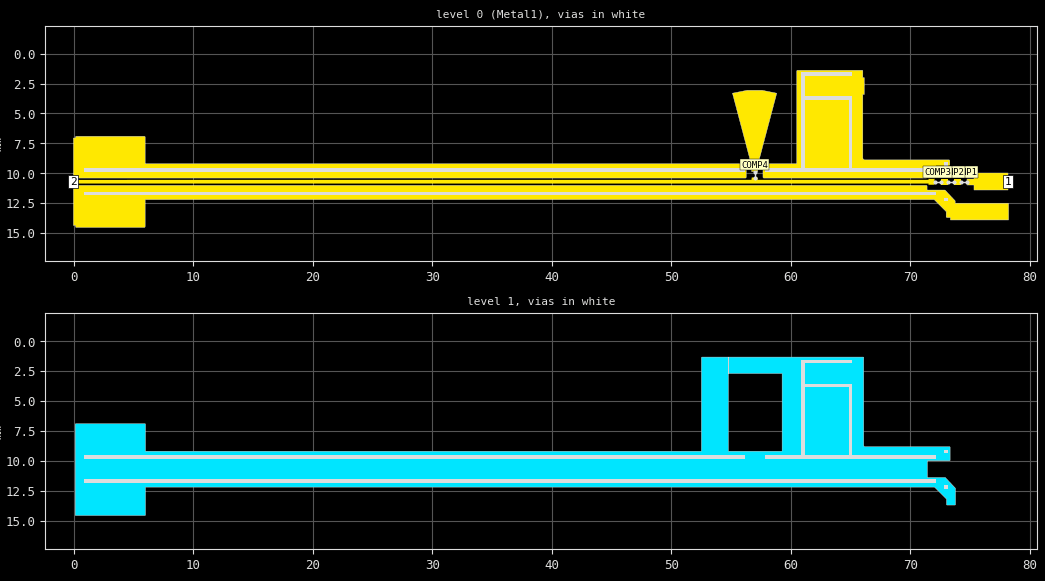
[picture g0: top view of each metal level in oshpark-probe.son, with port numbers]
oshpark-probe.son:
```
FTYP SONPROJ 18 ! Sonnet Project File
VER 17.56
HEADER
LIC antikernel2.1.50170 3cfdfeabd719 havequick azonenberg Level3Gold
DAT 02/15/2021 18:58:02
BUILT_BY_CREATED dxf 17.52.2 05/01/2020 05:35:06
BUILT_BY_SAVED sonnet 17.56
MDATE 02/15/2021 18:58:02
HDATE 02/15/2021 18:58:02
ANN Created by dxfgeo, Sonnet Software Inc.
END HEADER
DIM
ANG DEG
CAP PF
CON /OH
FREQ GHZ
IND NH
LNG MM
RES OH
END DIM
CONTROL
VARSWP
OPTIONS  -dj
SPEED 1
CACHE_ABS 1
Q_ACC N
END CONTROL
GEO
TMET "Free Space" 0 FREESPACE 376.7303136 0 0 0
BMET "Free Space" 0 FREESPACE 376.7303136 0 0 0
MET "Copper 1oz thick" 2 TMM 58000000 0.5 0.035 2
MET "Nickel " 3 TMM 14300000 0.5 3.5e-05 2
MET "Copper 0.5oz" 1 NOR 58000000 0.5 0.0175 
MET "Unknown_metal" 1 NOR INF 0.5 0 
MET "Unknown_metal" 1 VOL INF 0
BRI "Alumina (96%)" 0 9.4 0.0004 0 
BRI "Alumina (99.5%)" 0 9.9 0.0001 0 
BRI "Aluminum Nitride" 0 8.6 0.0003 0 
BRI "Arlon 25FR" 0 3.58 0.0035 0 
BRI "Arlon 25N" 0 3.38 0.0025 0 
BRI "Arlon AD5" 0 5.1 0.003 0 
BRI "Arlon AD10" 0 10.2 0.005 0 
BRI "Arlon AD250" 0 2.5 0.0018 0 
BRI "Arlon AD255A" 0 2.55 0.0015 0 
BRI "Arlon AD260A" 0 2.6 0.0018 0 
BRI "Arlon AD270" 0 2.7 0.0023 0 
BRI "Arlon AD300A" 0 3 0.002 0 
BRI "Arlon AD320A" 0 3.2 0.0032 0 
BRI "Arlon AD350A" 0 3.5 0.003 0 
BRI "Arlon AD410" 0 4.1 0.003 0 
BRI "Arlon AD430" 0 4.3 0.003 0 
BRI "Arlon AD450" 0 4.5 0.0035 0 
BRI "Arlon AD600" 0 6.15 0.003 0 
BRI "Arlon AD1000" 0 10.2 0.0023 0 
BRI "Arlon AR1000" 0 9.8 0.003 0 
BRI "Arlon CLTE" 0 2.96 0.0023 0 
BRI "Arlon CLTE-AT" 0 3 0.0013 0 
BRI "Arlon CLTE-P" 0 2.94 0.0025 0 
BRI "Arlon CLTE-XT" 0 2.94 0.0012 0 
BRI "Arlon Cu 217LX" 0 2.17 0.0009 0 
BRI "Arlon Cu 233LX" 0 2.33 0.0013 0 
BRI "Arlon Cu 250GT" 0 2.5 0.001 0 
BRI "Arlon Cu 250GX" 0 2.5 0.0018 0 
BRI "Arlon Cu 6250" 0 2.32 0.0013 0 
BRI "Arlon Cu 6700" 0 2.35 0.0025 0 
BRI "Arlon Di 522" 0 2.5 0.001 0 
BRI "Arlon Di 527" 0 2.5 0.0018 0 
BRI "Arlon Di 870" 0 2.33 0.0013 0 
BRI "Arlon Di 880" 0 2.17 0.0009 0 
BRI "Arlon Iso 917" 0 2.17 0.0013 0 
BRI "Arlon Iso 933" 0 2.33 0.0016 0 
BRI "Arlon Multi HF" 0 3.7 0.004 0 
BRI "Arlon TC350" 0 3.5 0.002 0 
BRI "Arlon TC600" 0 6.15 0.002 0 
BRI "Beryllia (99.5%)" 0 6.5 0.0004 0 
BRI "CEM-1" 0 4.5 0.02 0 
BRI "CEM-3" 0 4.5 0.02 0 
BRI "Dupont 9K7" 0 7.1 0.0012 0 
BRI "Dupont 943" 0 7.4 0.002 0 
BRI "Dupont 951" 0 7.8 0.006 0 
BRI "Dupont FEP" 0 2 0.0005 0 
BRI "Dupont Vacrel" 0 3.8 0.011 0 
BRI "ESL 41010" 0 7.5 0.005 0 
BRI "ESL 41020" 0 7.25 0.005 0 
BRI "ESL 41050" 0 13.5 0.002 0 
BRI "ESL 41060" 0 16.5 0.002 0 
BRI "ESL 41110" 0 4.5 0.004 0 
BRI "Ferro A6M" 0 5.9 0.002 0 
BRI "Ferro A6S" 0 5.9 0.002 0 
BRI "Ferro L8" 0 7.3 0.0018 0 
BRI "FR-4" 0 4.4 0.02 0 
BRI "G-10" 0 4.8 0.025 0 
BRI "Gallium Arsenide" 0 12.9 0.006 0 
BRI "Gallium Nitride" 0 9.7 0 0 
BRI "Glass (Pyrex)" 0 4.82 0.0054 0 
BRI "Heraeus HL2000" 0 7.3 0.0026 0 
BRI "Isola 370HR" 0 4.04 0.021 0 
BRI "Isola FR408" 0 3.77 0.0116 0 
BRI "Isola FR408HR" 0 3.68 0.0092 0 
BRI "Isola Getek" 0 3.6 0.01 0 
BRI "Isola GI-180" 0 3.7 0.013 0 
BRI "Isola IS415" 0 3.82 0.0125 0 
BRI "Isola IS620i" 0 3.58 0.006 0 
BRI "Isola IS680-280" 0 2.8 0.0025 0 
BRI "Isola IS680-300" 0 3 0.003 0 
BRI "Isola IS680-320" 0 3.2 0.003 0 
BRI "Isola IS680-333" 0 3.33 0.003 0 
BRI "Isola IS680-338" 0 3.38 0.0032 0 
BRI "Isola IS680-345" 0 3.45 0.0036 0 
BRI "Kerafol CT800" 0 5.3 0.008 0 
BRI "Nelco MW9350" 0 3.7 0.004 0 
BRI "Nelco N4000-12" 0 3.7 0.008 0 
BRI "Nelco N4000-13" 0 3.7 0.009 0 
BRI "Nelco N4000-13SI" 0 3.2 0.007 0 
BRI "Nelco N4000-13EP" 0 3.7 0.008 0 
BRI "Nelco N4350-13RF" 0 3.5 0.0065 0 
BRI "Nelco N4380-13RF" 0 3.8 0.007 0 
BRI "Nelco N9300-13RF" 0 3 0.004 0 
BRI "Nelco N9320-13RF" 0 3.2 0.0045 0 
BRI "Nelco N9338-13RF" 0 3.38 0.0046 0 
BRI "Nelco N9350-13RF" 0 3.48 0.0055 0 
BRI "Nelco NH9294" 0 2.94 0.0022 0 
BRI "Nelco NH9300" 0 3 0.0023 0 
BRI "Nelco NH9320" 0 3.2 0.0024 0 
BRI "Nelco NH9338" 0 3.38 0.0025 0 
BRI "Nelco NH9348" 0 3.48 0.003 0 
BRI "Nelco NH9350" 0 3.5 0.003 0 
BRI "Nelco NH9410" 0 4.1 0.003 0 
BRI "Nelco NH9450" 0 4.5 0.003 0 
BRI "Nelco NX9240" 0 2.4 0.0016 0 
BRI "Nelco NX9245" 0 2.45 0.0016 0 
BRI "Nelco NX9250" 0 2.5 0.0017 0 
BRI "Nelco NX9255" 0 2.55 0.0018 0 
BRI "Nelco NX9260" 0 2.6 0.0019 0 
BRI "Nelco NY9208" 0 2.08 0.0006 0 
BRI "Nelco NY9217" 0 2.17 0.0008 0 
BRI "Nelco NY9220" 0 2.2 0.0009 0 
BRI "Nelco NY9233" 0 2.33 0.0011 0 
BRI "PET" 0 3.37 0.0208 0 
BRI "Polyimide" 0 3.5 0.003 0 
BRI "Quartz (Fused)" 0 3.78 0.0001 0 
BRI "Rogers 3001" 0 2.28 0.003 0 
BRI "Rogers RO2808" 0 7.6 0.0015 0 
BRI "Rogers RO3003" 0 3 0.0013 0 
BRI "Rogers RO3006" 0 6.5 0.002 0 
BRI "Rogers RO3010" 0 11.2 0.0022 0 
BRI "Rogers RO3035" 0 3.6 0.0018 0 
BRI "Rogers RO3203" 0 3.02 0.0016 0 
BRI "Rogers RO3206" 0 6.6 0.0027 0 
BRI "Rogers RO3210" 0 10.8 0.0027 0 
BRI "Rogers RO3730" 0 3 0.0016 0 
BRI "Rogers RO4003C" 0 3.55 0.0029 0 
BRI "Rogers RO4533" 0 3.45 0.0029 0 
BRI "Rogers RO4534" 0 3.4 0.003 0 
BRI "Rogers RO4350B" 0 3.66 0.0037 0 
BRI "Rogers RO4350BTX" 0 3.66 0.0034 0 
BRI "Rogers RO4360" 0 6.15 0.0038 0 
BRI "Rogers RO4450B-3.6" 0 3.3 0.0043 0 
BRI "Rogers RO4450B-4" 0 3.54 0.004 0 
BRI "Rogers RO4450F" 0 3.52 0.0041 0 
BRI "Rogers RO4730" 0 3 0.0033 0 
BRI "Rogers RT5870" 0 2.33 0.0012 0 
BRI "Rogers RT5880" 0 2.2 0.0009 0 
BRI "Rogers RT5880LZ" 0 1.96 0.0019 0 
BRI "Rogers RT6002" 0 2.94 0.0012 0 
BRI "Rogers RT6006" 0 6.15 0.0027 0 
BRI "Rogers RT6010LM" 0 10.9 0.0023 0 
BRI "Rogers RT6035HTC" 0 3.6 0.0013 0 
BRI "Rogers RT6202" 0 2.94 0.0015 0 
BRI "Rogers RT6202PR" 0 2.95 0.0015 0 
BRI "Rogers Syron7000" 0 3.4 0.0045 0 
BRI "Rogers Syron7100-2" 0 3.61 0.006 0 
BRI "Rogers Syron7100-4" 0 3.39 0.005 0 
BRI "Rogers Theta" 0 4.01 0.0118 0 
BRI "Rogers TMM 3" 0 3.39 0.002 0 
BRI "Rogers TMM 4" 0 4.5 0.002 0 
BRI "Rogers TMM 6" 0 6 0.0023 0 
BRI "Rogers TMM 10" 0 9.56 0.0022 0 
BRI "Rogers TMM 10i" 0 9.96 0.002 0 
BRI "Rogers UL2000" 0 2.5 0.0019 0 
BRI "Rogers UL3850" 0 3.05 0.0025 0 
BRI "Rogers UL3908" 0 2.9 0.0025 0 
BRI "Rogers XT8000" 0 3.34 0.0035 0 
BRI "Rogers XT8100-2" 0 3.54 0.0049 0 
BRI "Rogers XT8100-4" 0 3.32 0.0038 0 
BRI "Silicon (intrinsic)" 0 11.9 0.004 0.00044 
BRI "Silicon Dioxide" 0 3.9 0 0 
BRI "Silicon Nitride" 0 7.5 0 0 
BRI "Taconic CER-10" 0 10 0.0035 0 
BRI "Taconic FastFilm" 0 2.7 0.0012 0 
BRI "Taconic Fastrise-DS" 0 2.96 0.0018 0 
BRI "Taconic Fastrise27" 0 2.7 0.0014 0 
BRI "Taconic Fastrise77" 0 7.7 0.0034 0 
BRI "Taconic FEP" 0 2 0.0003 0 
BRI "Taconic RF-30" 0 3 0.0014 0 
BRI "Taconic RF-35" 0 3.5 0.0018 0 
BRI "Taconic RF-35A2" 0 3.5 0.0011 0 
BRI "Taconic RF-35P" 0 3.5 0.0025 0 
BRI "Taconic RF-41" 0 4.1 0.0038 0 
BRI "Taconic RF-43" 0 4.3 0.0033 0 
BRI "Taconic RF-45" 0 4.5 0.0037 0 
BRI "Taconic RF-60A" 0 6.15 0.0038 0 
BRI "Taconic RF-301" 0 2.97 0.0012 0 
BRI "Taconic TacBond HT" 0 2.35 0.0025 0 
BRI "Taconic TLA-6" 0 2.62 0.0012 0 
BRI "Taconic TLC-27" 0 2.75 0.003 0 
BRI "Taconic TLC-30" 0 3 0.003 0 
BRI "Taconic TLC-32" 0 3.2 0.003 0 
BRI "Taconic TLE-95" 0 2.95 0.0028 0 
BRI "Taconic TLF-34" 0 3.4 0.002 0 
BRI "Taconic TLF-35" 0 3.5 0.002 0 
BRI "Taconic TLP-3" 0 2.33 0.0009 0 
BRI "Taconic TLP-5" 0 2.2 0.0009 0 
BRI "Taconic TLP-5A" 0 2.17 0.0009 0 
BRI "Taconic TLT-0" 0 2.45 0.0006 0 
BRI "Taconic TLT-9" 0 2.5 0.0006 0 
BRI "Taconic TLT-8" 0 2.55 0.0006 0 
BRI "Taconic TLT-7" 0 2.6 0.0006 0 
BRI "Taconic TLT-6" 0 2.65 0.0006 0 
BRI "Taconic TLX-0" 0 2.45 0.0019 0 
BRI "Taconic TLX-9" 0 2.5 0.0019 0 
BRI "Taconic TLX-8" 0 2.55 0.0019 0 
BRI "Taconic TLX-7" 0 2.6 0.0019 0 
BRI "Taconic TLX-6" 0 2.65 0.0019 0 
BRI "Taconic TLY-3" 0 2.33 0.0009 0 
BRI "Taconic TLY-3F" 0 2.33 0.0009 0 
BRI "Taconic TLY-5" 0 2.2 0.0009 0 
BRI "Taconic TLY-5-L" 0 2.2 0.0009 0 
BRI "Taconic TLY-5A" 0 2.17 0.0009 0 
BRI "Taconic TLY-5A-L" 0 2.17 0.0009 0 
BRI "Taconic TPG-30" 0 3 0.0038 0 
BRI "Taconic TPG-32" 0 3.2 0.005 0 
BRI "Taconic TPG-35" 0 3.5 0.005 0 
BRI "Taconic TRF-41" 0 4.1 0.0035 0 
BRI "Taconic TRF-43" 0 4.3 0.0035 0 
BRI "Taconic TRF-45" 0 4.5 0.0035 0 
BRI "Taconic TSM-DS" 0 2.85 0.001 0 
BRI "Taconic TSM-DS3" 0 3 0.0011 0 
BRI "Taconic TSM-26" 0 2.6 0.0014 0 
BRI "Taconic TSM-29" 0 2.94 0.0013 0 
BRI "Taconic TSM-30" 0 3 0.0013 0 
BRI "Teflon (PTFE)" 0 2.08 0.0004 0 
BOX 2 78.2 15 3128 600 20 0
      1 1 1 0 0 0 0 "Air"
      0.166 3.6 1 0.0092 0 0 0 "Isola FR408HR"
      1 1 1 0 0 0 0 "Air"
TECHLAY METAL Metal1 BLACK -2 0 
0 0 0 N 1687 1 1 100 100 0 0 0 Y
END
END
TECHLAY VIA Via1 <UNSPECIFIED> -4 0 
VIA POLYGON
1 0 -1 N 1700 1 1 100 100 0 0 0 Y
TOLEVEL 0 RING NOCOVERS
END
END
TECHLAY METAL Metal2 BLACK -3 0 
1 0 2 N 1702 1 1 100 100 0 0 0 Y
END
END
LORGN 0 15 U 
POR1 BOX
POLY 883 1
9
1 50 0 0 0 78.191575 10.705 
POR1 BOX
POLY 882 1
11
2 50 0 0 0 -0.013425 10.705 
SMD 0 "COMP1"
ID 1182
GNDREF AUTO
SBOX 74.336575 74.586575 10.58 10.83
PBSHW N
LPOS 74.461575 10.58
TYPE SPARAM 1
SMDP 0 74.711575 10.705 R 3 1 
EXSMDP
GNDREF AUTO
TERMW FEED
END EXSMDP
SMDP 0 74.211575 10.705 L 4 2 
EXSMDP
GNDREF AUTO
TERMW FEED
END EXSMDP
END
SMD 0 "COMP2"
ID 1187
GNDREF AUTO
SBOX 73.236575 73.486575 10.58 10.83
PBSHW N
LPOS 73.361575 10.58
TYPE SPARAM 1
SMDP 0 73.611575 10.705 R 5 1 
EXSMDP
GNDREF AUTO
TERMW FEED
END EXSMDP
SMDP 0 73.111575 10.705 L 6 2 
EXSMDP
GNDREF AUTO
TERMW FEED
END EXSMDP
END
SMD 0 "COMP3"
ID 1192
GNDREF AUTO
SBOX 72.136575 72.386575 10.58 10.83
PBSHW N
LPOS 72.261575 10.58
TYPE SPARAM 2
SMDP 0 72.511575 10.705 R 7 1 
EXSMDP
GNDREF AUTO
TERMW FEED
END EXSMDP
SMDP 0 72.011575 10.705 L 8 2 
EXSMDP
GNDREF AUTO
TERMW FEED
END EXSMDP
END
SMD 0 "COMP4"
ID 1197
GNDREF AUTO
SBOX 56.836575 57.086575 9.98 10.23
PBSHW N
LPOS 56.961575 9.98
TYPE SPARAM 2
SMDP 0 56.961575 10.355 B 9 1 
EXSMDP
GNDREF AUTO
TERMW FEED
END EXSMDP
SMDP 0 56.961575 9.855 T 10 2 
EXSMDP
GNDREF AUTO
TERMW FEED
END EXSMDP
END
NUM 18
0 103 0 N 880 1 1 100 100 0 0 0 Y
TLAYNAM Metal1 INH
USER_DAT FromImport
5.929575 14.528
5.936575 14.526
5.943575 14.523
5.950575 14.519
5.956575 14.515
5.961575 14.511
5.967575 14.505
5.971575 14.5
5.975575 14.494
5.979575 14.487
5.982575 14.48
5.984575 14.473
5.986575 14.459
5.986575 12.206
5.98665192 12.20576923
5.98689758 12.20532258
5.98689758 12.20532258
5.98748409 12.205
71.985575 12.205
71.98580577 12.20507692
71.98689758 12.20567742
71.98890833 12.20733333
72.98324167 13.20166667
72.98625242 13.20532258
72.986575 13.20590909
72.986575 13.626
72.986575 13.634
72.988575 13.648
72.990575 13.655
72.993575 13.662
72.997575 13.669
73.001575 13.675
73.005575 13.68
73.011575 13.686
73.016575 13.69
73.022575 13.694
73.029575 13.698
73.036575 13.701
73.043575 13.703
73.057575 13.705
73.336575 13.705
73.336575 13.905
78.2 13.905
78.2 12.505
73.736575 12.505
73.736575 12.341
73.736575 12.326
73.735575 12.319
73.733575 12.312
73.727575 12.298
73.723575 12.292
73.718575 12.286
72.906575 11.426
72.90548409 11.42509091
72.904575 11.424
72.902575 11.42266667
72.900575 11.421
72.888575 11.413
72.887175 11.4124
72.886575 11.412
72.879575 11.409
72.872575 11.407
72.869575 11.40657143
72.867575 11.406
72.860575 11.405
71.387575 11.405
71.38734423 11.40492308
71.38689758 11.40467742
71.386575 11.40409091
71.386575 11.081
71.384575 11.067
71.382575 11.06
71.379575 11.053
71.375575 11.046
71.371575 11.04
71.367575 11.035
71.361575 11.029
71.356575 11.025
71.350575 11.021
71.343575 11.017
71.336575 11.014
71.329575 11.012
71.315575 11.01
-0.013425 11.01
-0.013425 14.36
0.161575 14.36
0.161575 14.451
0.161575 14.459
0.163575 14.473
0.165575 14.48
0.168575 14.487
0.172575 14.494
0.176575 14.5
0.180575 14.505
0.186575 14.511
0.191575 14.515
0.197575 14.519
0.204575 14.523
0.211575 14.526
0.218575 14.528
0.232575 14.53
5.915575 14.53
5.929575 14.528
END
0 5 0 N 884 1 1 100 100 0 0 0 Y
TLAYNAM Metal1 INH
USER_DAT FromImport
74.211575 10.455
73.611575 10.455
73.611575 10.955
74.211575 10.955
74.211575 10.455
END
0 66 0 N 879 1 1 100 100 0 0 0 Y
TLAYNAM Metal1 INH
USER_DAT FromImport
56.204575 10.398
56.211575 10.396
56.218575 10.393
56.225575 10.389
56.231575 10.385
56.236575 10.381
56.242575 10.375
56.246575 10.37
56.250575 10.364
56.254575 10.357
56.257575 10.35
56.259575 10.343
56.261575 10.329
56.261575 9.276
56.259575 9.262
56.257575 9.255
56.254575 9.248
56.250575 9.241
56.246575 9.235
56.242575 9.23
56.236575 9.224
56.231575 9.22
56.225575 9.216
56.218575 9.212
56.211575 9.209
56.204575 9.207
56.190575 9.205
5.987575 9.205
5.98734423 9.204923077
5.98689758 9.204677419
5.98689758 9.204677419
5.986575 9.204090909
5.986575 6.976
5.984575 6.962
5.982575 6.955
5.979575 6.948
5.975575 6.941
5.971575 6.935
5.967575 6.93
5.961575 6.924
5.956575 6.92
5.950575 6.916
5.943575 6.912
5.936575 6.909
5.929575 6.907
5.915575 6.905
0.232575 6.905
0.218575 6.907
0.211575 6.909
0.204575 6.912
0.197575 6.916
0.191575 6.92
0.186575 6.924
0.180575 6.93
0.176575 6.935
0.172575 6.941
0.168575 6.948
0.165575 6.955
0.163575 6.962
0.161575 6.976
0.161575 6.984
0.161575 7.05
-0.013425 7.05
-0.013425 10.4
56.190575 10.4
56.204575 10.398
END
0 129 0 N 881 1 1 100 100 0 0 0 Y
TLAYNAM Metal1 INH
USER_DAT FromImport
71.329575 10.398
71.336575 10.396
71.343575 10.393
71.350575 10.389
71.356575 10.385
71.361575 10.381
71.367575 10.375
71.371575 10.37
71.375575 10.364
71.379575 10.357
71.382575 10.35
71.384575 10.343
71.386575 10.329
71.386575 10.006
71.38665192 10.00576923
71.38689758 10.00532258
71.38689758 10.00532258
71.38748409 10.005
73.215575 10.005
73.229575 10.003
73.236575 10.001
73.243575 9.998
73.250575 9.994
73.256575 9.99
73.261575 9.986
73.267575 9.98
73.271575 9.975
73.275575 9.969
73.279575 9.962
73.282575 9.955
73.284575 9.948
73.286575 9.934
73.286575 8.951
73.284575 8.937
73.282575 8.93
73.279575 8.923
73.275575 8.916
73.271575 8.91
73.267575 8.905
73.261575 8.899
73.256575 8.895
73.250575 8.891
73.243575 8.887
73.236575 8.884
73.229575 8.882
73.215575 8.88
66.194575 8.88
66.19224167 8.880333333
66.18695431 8.880862069
66.14933296 8.87683121
66.11656842 8.866516447
66.08553901 8.849760563
66.06508314 8.83263472
66.04151866 8.804488263
66.02473002 8.773398176
66.01431626 8.738251748
66.01074314 8.704902655
66.011575 8.697
66.011575 8.696
66.011575 3.405
66.136575 3.405
66.136575 2.005
66.011575 2.005
66.011575 1.459
66.011575 1.451
66.009575 1.437
66.007575 1.43
66.004575 1.423
66.000575 1.416
65.996575 1.41
65.992575 1.405
65.986575 1.399
65.981575 1.395
65.975575 1.391
65.968575 1.387
65.961575 1.384
65.954575 1.382
65.940575 1.38
60.557575 1.38
60.543575 1.382
60.536575 1.384
60.529575 1.387
60.522575 1.391
60.516575 1.395
60.511575 1.399
60.505575 1.405
60.501575 1.41
60.497575 1.416
60.493575 1.423
60.490575 1.43
60.488575 1.437
60.486575 1.451
60.486575 1.459
60.486575 9.204
60.48649808 9.204230769
60.48625242 9.204677419
60.48566591 9.205
57.732575 9.205
57.718575 9.207
57.711575 9.209
57.704575 9.212
57.697575 9.216
57.691575 9.22
57.686575 9.224
57.680575 9.23
57.676575 9.235
57.672575 9.241
57.668575 9.248
57.665575 9.255
57.663575 9.262
57.661575 9.276
57.661575 9.284
57.661575 10.321
57.661575 10.329
57.663575 10.343
57.665575 10.35
57.668575 10.357
57.672575 10.364
57.676575 10.37
57.680575 10.375
57.686575 10.381
57.691575 10.385
57.697575 10.389
57.704575 10.393
57.711575 10.396
57.718575 10.398
57.732575 10.4
71.315575 10.4
71.329575 10.398
END
0 11 0 N 883 1 1 100 100 0 0 0 Y
TLAYNAM Metal1 INH
USER_DAT FromImport
78.191575 10.005
75.331575 10.005
75.331575 10.455
74.711575 10.455
74.711575 10.693
74.711575 10.717
74.711575 10.955
75.331575 10.955
75.331575 11.405
78.191575 11.405
78.191575 10.005
END
0 21 0 N 882 1 1 100 100 0 0 0 Y
TLAYNAM Metal1 INH
USER_DAT FromImport
72.011575 10.455
71.511575 10.455
71.511575 10.55
57.211575 10.55
57.211575 10.355
56.711575 10.355
56.711575 10.55
4.453575 10.55
4.438575 10.551
4.423575 10.554
4.420775 10.555
-0.013425 10.555
-0.013425 10.855
4.420775 10.855
4.423575 10.856
4.438575 10.859
4.453575 10.86
71.511575 10.86
71.511575 10.955
72.011575 10.955
72.011575 10.455
END
0 9 0 N 878 1 1 100 100 0 0 0 Y
TLAYNAM Metal1 INH
USER_DAT FromImport
57.211575 9.355
58.811575 3.305
57.561575 3.055
56.361575 3.055
55.111575 3.305
56.711575 9.355
56.711575 9.855
57.211575 9.855
57.211575 9.355
END
0 5 0 N 885 1 1 100 100 0 0 0 Y
TLAYNAM Metal1 INH
USER_DAT FromImport
73.111575 10.455
72.511575 10.455
72.511575 10.955
73.111575 10.955
73.111575 10.455
END
VIA POLYGON
1 5 -1 N 727 1 1 100 100 0 0 0 Y
TOLEVEL 0 RING NOCOVERS
TLAYNAM Via1 INH
USER_DAT FromImport
64.836575 9.555
64.836575 3.555
65.136575 3.555
65.136575 9.555
64.836575 9.555
END
VIA POLYGON
1 5 -1 N 785 1 1 100 100 0 0 0 Y
TOLEVEL 0 RING NOCOVERS
TLAYNAM Via1 INH
USER_DAT FromImport
0.836575 11.855
0.836575 11.555
72.136575 11.555
72.136575 11.855
0.836575 11.855
END
VIA POLYGON
1 5 -1 N 725 1 1 100 100 0 0 0 Y
TOLEVEL 0 RING NOCOVERS
TLAYNAM Via1 INH
USER_DAT FromImport
61.15 3.855
61.15 3.555
64.85 3.555
64.85 3.855
61.15 3.855
END
VIA POLYGON
1 5 -1 N 714 1 1 100 100 0 0 0 Y
TOLEVEL 0 RING NOCOVERS
TLAYNAM Via1 INH
USER_DAT FromImport
60.836575 1.855
60.836575 1.555
65.136575 1.555
65.136575 1.855
60.836575 1.855
END
VIA POLYGON
1 5 -1 N 877 1 1 100 100 0 0 0 Y
TOLEVEL 0 RING NOCOVERS
TLAYNAM Via1 INH
USER_DAT FromImport
72.836575 12.355
72.836575 12.055
73.136575 12.055
73.136575 12.355
72.836575 12.355
END
VIA POLYGON
1 5 -1 N 715 1 1 100 100 0 0 0 Y
TOLEVEL 0 RING NOCOVERS
TLAYNAM Via1 INH
USER_DAT FromImport
60.836575 9.55
60.836575 1.85
61.136575 1.85
61.136575 9.55
60.836575 9.55
END
VIA POLYGON
1 5 -1 N 876 1 1 100 100 0 0 0 Y
TOLEVEL 0 RING NOCOVERS
TLAYNAM Via1 INH
USER_DAT FromImport
72.836575 9.355
72.836575 9.055
73.136575 9.055
73.136575 9.355
72.836575 9.355
END
VIA POLYGON
1 5 -1 N 784 1 1 100 100 0 0 0 Y
TOLEVEL 0 RING NOCOVERS
TLAYNAM Via1 INH
USER_DAT FromImport
0.836575 9.855
0.836575 9.555
56.15 9.555
56.15 9.855
0.836575 9.855
END
VIA POLYGON
1 5 -1 N 825 1 1 100 100 0 0 0 Y
TOLEVEL 0 RING NOCOVERS
TLAYNAM Via1 INH
USER_DAT FromImport
57.836575 9.855
57.836575 9.555
72.136575 9.555
72.136575 9.855
57.836575 9.855
END
1 180 3 N 1466 1 1 100 100 0 0 0 Y
5.97449989 14.57400055
5.97949905 14.57199974
5.98350067 14.57000084
5.98849983 14.56800003
5.99649925 14.56199951
5.99949951 14.55899925
6.00550003 14.55099983
6.00750084 14.54600067
6.00949974 14.54199905
6.01150055 14.53699989
6.0125 14.53200073
6.0125 12.20099945
6.01349945 12.2
72.01150055 12.2
72.01150055 12.20099945
73.01150055 13.20099945
73.0125 13.20099945
73.0125 13.65700073
73.01349945 13.66199989
73.01549835 13.66699905
73.01749725 13.67100067
73.01950378 13.67599983
73.02550049 13.68399925
73.02849884 13.68699951
73.03650208 13.69300003
73.04149933 13.69500084
73.04549713 13.69699974
73.05050201 13.69900055
73.05549927 13.7
73.71950073 13.7
73.72449799 13.69900055
73.72950287 13.69699974
73.73350067 13.69500084
73.73849792 13.69300003
73.74650116 13.68699951
73.74949951 13.68399925
73.75549622 13.67599983
73.75750275 13.67200012
73.75750275 13.67100067
73.75950165 13.66699905
73.76150055 13.66199989
73.7625 13.65700073
73.7625 12.31300087
73.76150055 12.3079998
73.75950165 12.30300064
73.75750275 12.29900093
73.75549622 12.29399986
73.75349731 12.29199905
73.75349731 12.2909996
73.75049896 12.28699989
73.74650116 12.28300018
72.93149872 11.42100067
72.93149872 11.41999931
72.92850037 11.4159996
72.91649933 11.40700073
72.91549988 11.40700073
72.91350098 11.40499992
72.90850372 11.40299911
72.90649719 11.40299911
72.90449829 11.40199966
72.90349884 11.40100021
72.89850159 11.40000076
71.41250153 11.40000076
71.41250153 10.0010006
71.41350098 9.99999924
73.26950378 9.99999924
73.27450104 9.99899979
73.27949829 9.99700089
73.28350372 9.99500008
73.28850098 9.99299927
73.29649658 9.98700066
73.29950256 9.9840004
73.30549927 9.97599907
73.30749817 9.97099991
73.30949707 9.9670002
73.3115036 9.96199913
73.31250305 9.95699997
73.31250305 8.86799927
73.31049652 8.85800095
73.30849762 8.85399933
73.30549927 8.84900017
73.30350037 8.84500046
73.30050201 8.84100075
73.29950256 8.84100075
73.29649658 8.83800049
73.28850098 8.83199997
73.28450317 8.82999916
73.27949829 8.82800026
73.27550049 8.82599945
73.27050323 8.825
66.2134964 8.825
66.1885025 8.82299919
66.16050262 8.81400032
66.15749664 8.81300087
66.14450378 8.8060009
66.12150116 8.78699989
66.11249847 8.77600021
66.11149902 8.77299995
66.09749908 8.74800034
66.0884964 8.72099991
66.08749695 8.70099945
66.08749695 1.368000221
66.0864975 1.363000107
66.0844986 1.357999992
66.08249969 1.354000282
66.08050079 1.349000168
66.07449646 1.340999794
66.07149811 1.337999535
66.0635025 1.331999969
66.05849762 1.330000114
66.05449982 1.328000259
66.04950256 1.326000404
66.04449768 1.325
54.76349945 1.325
54.76349945 2.7
59.26150055 2.7
59.26150055 2.700999451
59.2625 2.700999451
59.2625 9.19900055
59.26150055 9.2
54.7625 9.2
54.7625 2.700999451
54.76349945 2.7
54.76349945 1.325
52.55549927 1.325
52.55050201 1.326000404
52.54549713 1.328000259
52.54149933 1.330000114
52.53650208 1.331999969
52.52849884 1.337999535
52.52550049 1.340999794
52.51950378 1.349000168
52.51749725 1.354000282
52.51549835 1.357999992
52.51349945 1.363000107
52.5125 1.368000221
52.5125 9.19900055
52.51150055 9.2
6.0125 9.2
6.0125 9.19300003
6.01550026 6.956999969
6.01550026 6.943000031
6.01349945 6.932999802
6.01150055 6.929000092
6.00850029 6.924000931
6.00649948 6.919999313
6.00349922 6.915999603
6.00249977 6.915999603
5.99949951 6.912999344
5.99150009 6.907000732
5.98750038 6.904999924
5.98249931 6.902999115
5.9784996 6.901000214
5.97350044 6.900000763
0.18050022 6.900000763
0.17550011 6.901000214
0.17049999 6.902999115
0.16650028 6.904999924
0.16150017 6.907000732
0.15349979 6.912999344
0.15049953 6.915999603
0.14449997 6.924000931
0.14250011 6.929000092
0.14050026 6.932999802
0.1385004 6.93800087
0.1375 6.943000031
0.1375 14.53200073
0.1385004 14.53699989
0.14050026 14.54199905
0.14250011 14.54600067
0.14449997 14.55099983
0.15049953 14.55899925
0.15349979 14.56199951
0.16150017 14.56800003
0.16650028 14.57000084
0.17049999 14.57199974
0.17550011 14.57400055
0.18050022 14.575
5.96950073 14.575
5.97449989 14.57400055
END
END GEO
SUBDIV
MAIN $BASENAME_net.son
REFPLANE N 0
NAME 1 $BASENAME_net_s1.son
NAME 2 $BASENAME_net_s2.son
LINE 1 45 V 
END SUBDIV
OPT
MAX 100
END OPT
VARSWP
ENABLED Y
FREQ Y AY ABS_ENTRY 0.1 10.0 -1 300 
END
END VARSWP
SMDFILES
1 "../../../../../../../bulk/datasheets/Vishay/Resistors/FC/0402/FC0402-FlipChip-200 Ohm.s2p"
2 "../../../../../../../bulk/datasheets/Vishay/Resistors/FC/0402/FC0402-FlipChip-50 Ohm.s2p"
END SMDFILES
```
